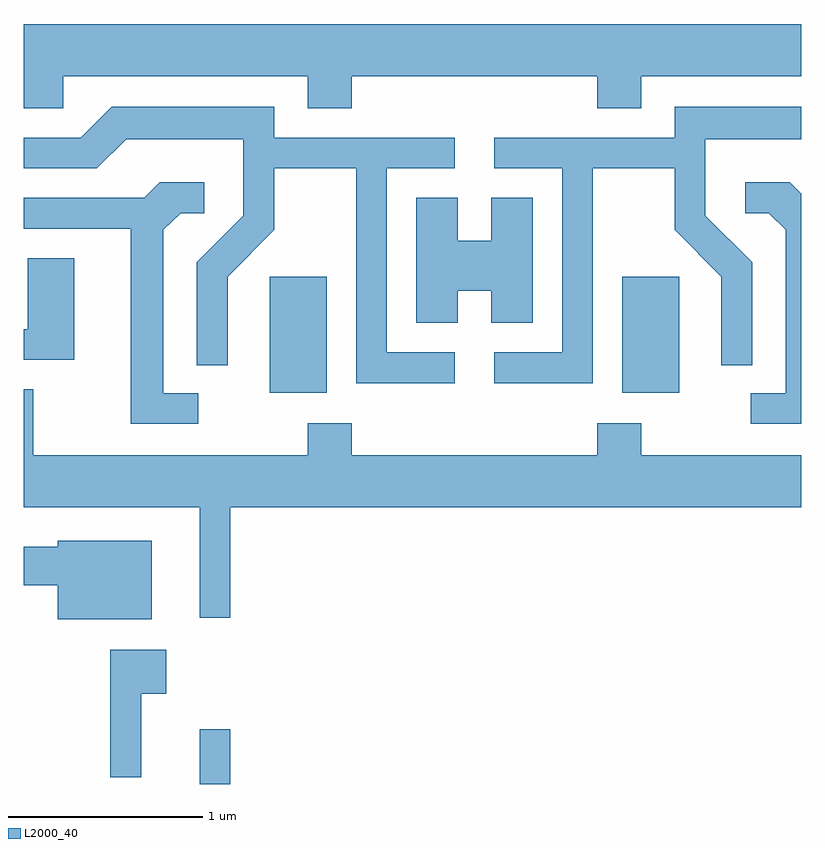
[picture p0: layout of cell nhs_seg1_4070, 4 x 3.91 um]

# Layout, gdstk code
import gdstk
lib = gdstk.Library(unit=1e-6, precision=1e-09)
def R(c, l, rs):  # rectangles x0, y0, x1, y1
    for r in rs: c.add(gdstk.rectangle(r[:2], r[2:], *l))
def P(c, l, *ps):  # polygons
    for p in ps: c.add(gdstk.Polygon(p, *l))
L2000_40 = (2000, 40)

nhs_seg1_4070 = lib.new_cell('nhs_seg1_4070')
R(nhs_seg1_4070, L2000_40, [(308.516,893.712,308.674,893.993), (308.876,895.726,309.169,896.324), (310.691,895.726,310.984,896.324)])
P(nhs_seg1_4070, L2000_40, [(307.814,897.356),(309.071,897.356),(309.071,897.191),(309.299,897.191),(309.299,897.356),(310.561,897.356),(310.561,897.191),(310.789,897.191),(310.789,897.356),(311.611,897.356),(311.611,897.624),(307.611,897.624),(307.611,897.191),(307.814,897.191)],
  [(310.539,896.881),(310.961,896.881),(310.961,896.564),(311.201,896.324),(311.201,895.868),(311.359,895.868),(311.359,896.397),(311.119,896.637),(311.119,897.031),(311.611,897.031),(311.611,897.199),(310.961,897.199),(310.961,897.039),(310.033,897.039),(310.033,896.881),(310.381,896.881),(310.381,895.934),(310.033,895.934),(310.033,895.776),(310.539,895.776)],
  [(309.828,895.934),(309.479,895.934),(309.479,896.881),(309.828,896.881),(309.828,897.039),(308.899,897.039),(308.899,897.199),(308.064,897.199),(307.904,897.039),(307.611,897.039),(307.611,896.881),(307.987,896.881),(308.137,897.031),(308.741,897.031),(308.741,896.637),(308.501,896.397),(308.501,895.868),(308.659,895.868),(308.659,896.324),(308.899,896.564),(308.899,896.881),(309.321,896.881),(309.321,895.776),(309.828,895.776)],
  [(308.508,895.724),(308.329,895.724),(308.329,896.564),(308.417,896.651),(308.538,896.651),(308.538,896.809),(308.309,896.809),(308.229,896.729),(307.611,896.729),(307.611,896.571),(308.161,896.571),(308.161,895.566),(308.508,895.566)],
  [(311.611,896.75),(311.552,896.809),(311.323,896.809),(311.323,896.651),(311.444,896.651),(311.531,896.564),(311.531,895.724),(311.353,895.724),(311.353,895.566),(311.611,895.566)],
  [(309.844,896.251),(310.016,896.251),(310.016,896.086),(310.229,896.086),(310.229,896.729),(310.016,896.729),(310.016,896.509),(309.844,896.509),(309.844,896.729),(309.631,896.729),(309.631,896.086),(309.844,896.086)],
  [(307.869,896.419),(307.631,896.419),(307.631,896.054),(307.611,896.054),(307.611,895.896),(307.869,895.896)],
  [(308.674,895.136),(311.611,895.136),(311.611,895.404),(310.789,895.404),(310.789,895.569),(310.561,895.569),(310.561,895.404),(309.299,895.404),(309.299,895.569),(309.071,895.569),(309.071,895.404),(307.659,895.404),(307.659,895.744),(307.611,895.744),(307.611,895.136),(308.516,895.136),(308.516,894.568),(308.674,894.568)],
  [(308.269,894.964),(307.786,894.964),(307.786,894.934),(307.611,894.934),(307.611,894.736),(307.786,894.736),(307.786,894.561),(308.269,894.561)],
  [(308.214,894.176),(308.344,894.176),(308.344,894.404),(308.056,894.404),(308.056,893.748),(308.214,893.748)])

lib.write_gds('nhs_seg1_4070.gds')
